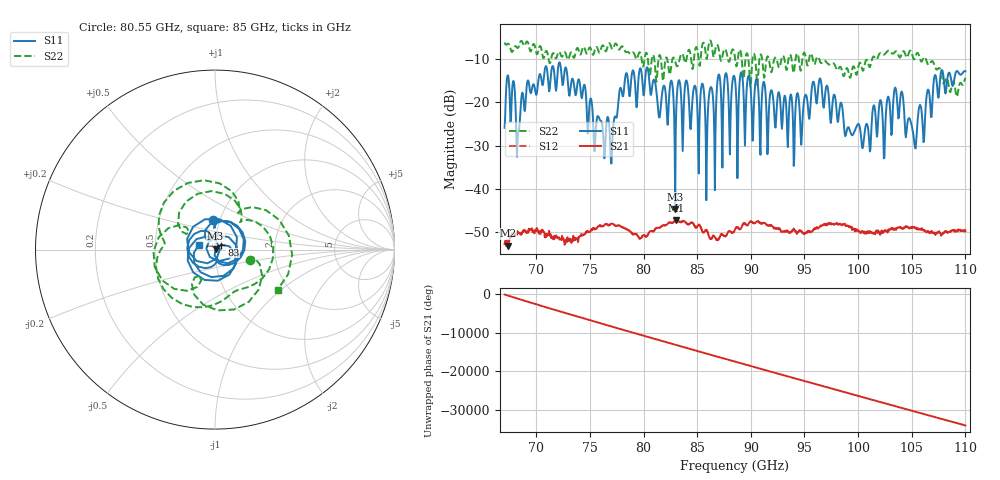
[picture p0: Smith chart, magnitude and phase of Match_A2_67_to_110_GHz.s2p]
#  HZ  S  MA  R  50.00
! Rohde & Schwarz ZVA67 4Ports - Version 4.11 - 1305.7002k04 SN: 101051
! Date: 2023-09-13 16:55:57
! Measurements: S11 S21 S12 S22
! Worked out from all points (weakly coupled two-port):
!   860 points, 67.05 GHz to 110 GHz, reference 50 ohm
!   highest |S21| = -47.18 dB at 83.05 GHz (marker M1); lowest = -53.0 dB at 67.35 GHz (marker M2)
!   lowest |S11| = -44.6 dB at 82.95 GHz (marker M3), VSWR 1.01, Z = 50.3 + j0.515 ohm
!   |S11| at or under -10 dB: start of sweep to end of sweep
!   |S22| runs from -18.8 to -5.8 dB; largest |S21 - S12| = 0.00068
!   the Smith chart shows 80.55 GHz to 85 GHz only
!   S11 on the Smith chart (normalised r, x): 80.55 GHz: 0.92, +0.32; 83 GHz: 1.07, +0.06; 85 GHz: 0.83, +0.04
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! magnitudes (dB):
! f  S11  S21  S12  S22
! 67.05 GHz  -25.9  -52.7  -52.8  -6.3
! 67.35 GHz  -13.8  -53.0  -52.2  -6.5
! 68.3 GHz  -27.3  -50.2  -50.2  -7.5
! 70.85 GHz  -11.9  -51.2  -50.8  -8.5
! 74.25 GHz  -19.1  -50.7  -50.6  -8.2
! 77 GHz  -34.2  -48.0  -48.0  -7.4
! 78.35 GHz  -13.5  -49.1  -49.2  -8.5
! 80.55 GHz  -15.5  -49.9  -49.8  -13.9
! 81.4 GHz  -22.8  -49.0  -48.9  -10.0
! 82.6 GHz  -15.0  -47.9  -47.7  -11.3
! 82.95 GHz  -44.6  -47.3  -47.3  -10.6
! 83 GHz  -27.0  -47.3  -47.2  -11.1
! 83.05 GHz  -21.8  -47.2  -47.2  -11.5
! 83.3 GHz  -14.9  -47.5  -47.5  -10.7
! 85 GHz  -20.6  -48.7  -48.7  -7.7
! 88.55 GHz  -15.3  -49.2  -49.2  -10.3
! 95.7 GHz  -16.5  -49.8  -49.9  -9.2
! 100.4 GHz  -30.6  -49.7  -49.9  -12.6
! 102.8 GHz  -18.9  -49.3  -49.4  -8.1
! 105.3 GHz  -30.3  -48.9  -49.0  -9.8
! 107.2 GHz  -13.8  -50.1  -50.3  -11.7
! 110 GHz  -12.9  -49.7  -49.7  -14.4
